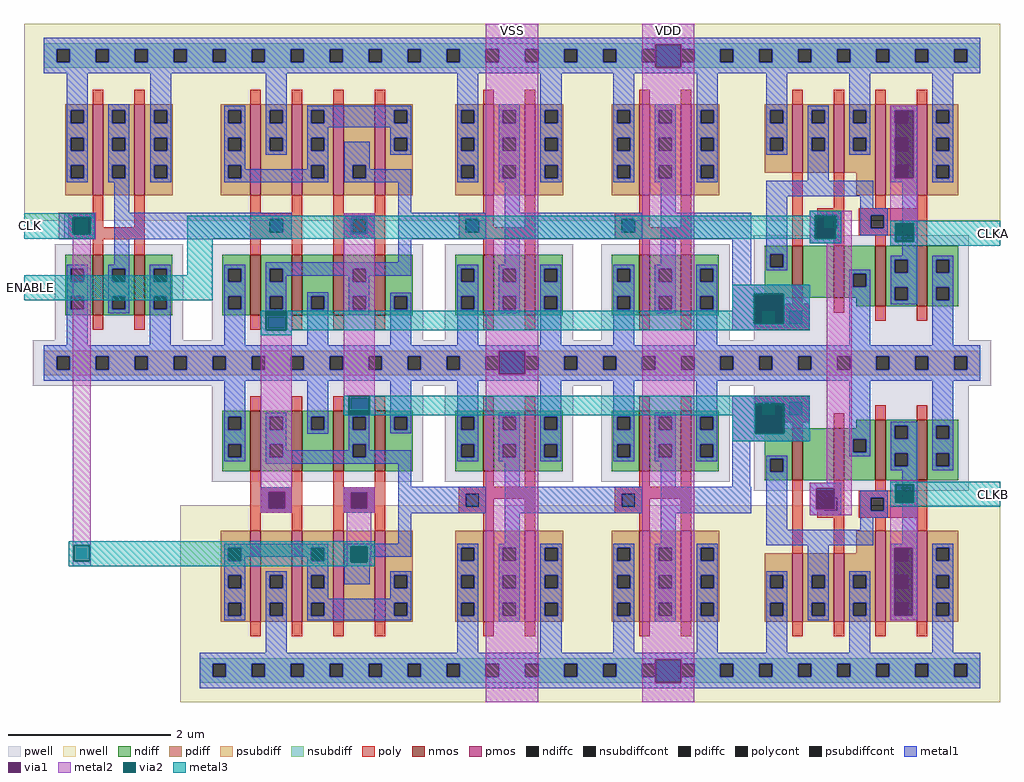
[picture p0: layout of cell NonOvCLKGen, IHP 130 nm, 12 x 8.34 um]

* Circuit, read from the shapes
.subckt NonOvCLKGen CLK ENABLE CLKA CLKB VSS VDD
XM1 sg13g2_nor2_2_0/A CLK VSS VSS sg13_lv_nmos w=0.74u l=0.13u m=2
XM2 sg13g2_inv_2_3/A sg13g2_and2_2_0/A VSS VSS sg13_lv_nmos w=0.74u l=0.13u m=2
XM3 sg13g2_inv_2_1/A sg13g2_nor2_2_0/A VSS VSS sg13_lv_nmos w=0.74u l=0.13u m=2
XM4 sg13g2_inv_2_3/A CLK VSS VSS sg13_lv_nmos w=0.74u l=0.13u m=2
XM5 sg13g2_inv_2_1/A sg13g2_and2_2_1/A VSS VSS sg13_lv_nmos w=0.74u l=0.13u m=2
XM6 sg13g2_inv_2_4/A sg13g2_inv_2_3/A VSS VSS sg13_lv_nmos w=0.74u l=0.13u m=2
XM7 sg13g2_inv_2_2/A sg13g2_inv_2_1/A VSS VSS sg13_lv_nmos w=0.74u l=0.13u m=2
XM8 sg13g2_and2_2_1/A sg13g2_inv_2_4/A VSS VSS sg13_lv_nmos w=0.74u l=0.13u m=2
XM9 sg13g2_and2_2_0/A sg13g2_inv_2_2/A VSS VSS sg13_lv_nmos w=0.74u l=0.13u m=2
XM10 n1 sg13g2_and2_2_1/A n2 VSS sg13_lv_nmos w=0.64u l=0.13u
XM11 n3 sg13g2_and2_2_0/A n4 VSS sg13_lv_nmos w=0.64u l=0.13u
XM12 VSS ENABLE n1 VSS sg13_lv_nmos w=0.64u l=0.13u
XM13 VSS ENABLE n3 VSS sg13_lv_nmos w=0.64u l=0.13u
XM14 CLKB n2 VSS VSS sg13_lv_nmos w=0.74u l=0.13u m=2
XM15 CLKA n4 VSS VSS sg13_lv_nmos w=0.74u l=0.13u m=2
XM16 sg13g2_nor2_2_0/A CLK VDD VDD sg13_lv_pmos w=1.12u l=0.13u m=2
XM17 VDD sg13g2_and2_2_0/A n5 VDD sg13_lv_pmos w=1.12u l=0.13u m=2
XM18 VDD sg13g2_nor2_2_0/A n6 VDD sg13_lv_pmos w=1.12u l=0.13u m=2
XM19 sg13g2_inv_2_3/A CLK n5 VDD sg13_lv_pmos w=1.12u l=0.13u m=2
XM20 sg13g2_inv_2_1/A sg13g2_and2_2_1/A n6 VDD sg13_lv_pmos w=1.12u l=0.13u m=2
XM21 sg13g2_inv_2_4/A sg13g2_inv_2_3/A VDD VDD sg13_lv_pmos w=1.12u l=0.13u m=2
XM22 sg13g2_inv_2_2/A sg13g2_inv_2_1/A VDD VDD sg13_lv_pmos w=1.12u l=0.13u m=2
XM23 sg13g2_and2_2_1/A sg13g2_inv_2_4/A VDD VDD sg13_lv_pmos w=1.12u l=0.13u m=2
XM24 sg13g2_and2_2_0/A sg13g2_inv_2_2/A VDD VDD sg13_lv_pmos w=1.12u l=0.13u m=2
XM25 n2 sg13g2_and2_2_1/A VDD VDD sg13_lv_pmos w=0.84u l=0.13u
XM26 n4 sg13g2_and2_2_0/A VDD VDD sg13_lv_pmos w=0.84u l=0.13u
XM27 VDD ENABLE n2 VDD sg13_lv_pmos w=0.84u l=0.13u
XM28 VDD ENABLE n4 VDD sg13_lv_pmos w=0.84u l=0.13u
XM29 CLKB n2 VDD VDD sg13_lv_pmos w=1.12u l=0.13u m=2
XM30 CLKA n4 VDD VDD sg13_lv_pmos w=1.12u l=0.13u m=2
.ends

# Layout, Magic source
magic
tech ihp-sg13g2
<< metal1 >>
rect 1052 2580 1198 2613
rect 1329 2580 1437 2613
rect 1532 2580 1629 2613
rect 1724 2580 1763 2613
rect 1740 2524 1763 2580
rect 1740 2513 1835 2524
rect 1740 2476 1766 2513
rect 1803 2476 1835 2513
rect 1740 2468 1835 2476
rect 1740 2378 1835 2388
rect 1740 2341 1768 2378
rect 1804 2341 1835 2378
rect 1740 2332 1835 2341
rect 1740 2276 1762 2332
rect 1329 2243 1437 2276
rect 1532 2243 1629 2276
rect 1717 2243 1763 2276
<< via1 >>
rect 1645 2791 1677 2820
rect 1940 2655 1963 2739
rect 929 2586 951 2607
rect 1271 2587 1291 2607
rect 1841 2581 1867 2609
rect 1766 2476 1803 2513
rect 1453 2414 1485 2443
rect 1768 2341 1804 2378
rect 1169 2249 1190 2270
rect 1271 2249 1291 2269
rect 1843 2248 1866 2274
rect 1939 2117 1962 2201
rect 1645 2035 1677 2064
<< metal2 >>
rect 912 2607 957 2613
rect 912 2586 929 2607
rect 951 2586 957 2607
rect 912 2580 957 2586
rect 1262 2607 1300 2612
rect 1262 2587 1271 2607
rect 1291 2587 1300 2607
rect 929 2204 951 2580
rect 1160 2468 1166 2492
rect 1192 2468 1198 2492
rect 1160 2270 1198 2468
rect 1262 2388 1300 2587
rect 1262 2364 1268 2388
rect 1294 2364 1300 2388
rect 1437 2443 1501 2845
rect 1437 2414 1453 2443
rect 1485 2414 1501 2443
rect 1160 2249 1169 2270
rect 1190 2249 1198 2270
rect 1160 2244 1198 2249
rect 1262 2269 1300 2275
rect 1262 2249 1271 2269
rect 1291 2249 1300 2269
rect 1262 2244 1300 2249
rect 929 2184 930 2204
rect 950 2184 951 2204
rect 929 2178 951 2184
rect 1266 2203 1296 2244
rect 1266 2183 1271 2203
rect 1291 2183 1296 2203
rect 1266 2178 1296 2183
rect 1437 2011 1501 2414
rect 1629 2820 1693 2845
rect 1629 2791 1645 2820
rect 1677 2791 1693 2820
rect 1629 2064 1693 2791
rect 1934 2739 1968 2744
rect 1934 2655 1940 2739
rect 1963 2655 1968 2739
rect 1835 2609 1887 2615
rect 1835 2581 1841 2609
rect 1867 2581 1887 2609
rect 1835 2575 1887 2581
rect 1740 2513 1835 2524
rect 1740 2476 1766 2513
rect 1803 2476 1835 2513
rect 1740 2468 1835 2476
rect 1740 2378 1835 2388
rect 1740 2341 1768 2378
rect 1804 2341 1835 2378
rect 1740 2332 1835 2341
rect 1856 2281 1887 2575
rect 1934 2600 1968 2655
rect 1934 2577 1940 2600
rect 1963 2577 1968 2600
rect 1934 2572 1968 2577
rect 1835 2274 1887 2281
rect 1835 2248 1843 2274
rect 1866 2248 1887 2274
rect 1835 2241 1887 2248
rect 1934 2279 1968 2284
rect 1934 2256 1940 2279
rect 1963 2256 1968 2279
rect 1934 2201 1968 2256
rect 1934 2117 1939 2201
rect 1962 2117 1968 2201
rect 1934 2112 1968 2117
rect 1629 2035 1645 2064
rect 1677 2035 1693 2064
rect 1629 2011 1693 2035
<< via2 >>
rect 929 2586 951 2607
rect 1166 2468 1192 2492
rect 1268 2364 1294 2388
rect 930 2184 950 2204
rect 1271 2183 1291 2203
rect 1841 2581 1867 2609
rect 1766 2476 1803 2513
rect 1768 2341 1804 2378
rect 1940 2577 1963 2600
rect 1940 2256 1963 2279
<< metal3 >>
rect 869 2607 956 2612
rect 1835 2609 1874 2615
rect 869 2586 929 2607
rect 951 2586 956 2607
rect 869 2581 956 2586
rect 1070 2581 1841 2609
rect 1867 2581 1874 2609
rect 1070 2536 1101 2581
rect 1835 2575 1874 2581
rect 1934 2600 2069 2603
rect 1934 2577 1940 2600
rect 1963 2577 2069 2600
rect 1934 2572 2069 2577
rect 869 2505 1101 2536
rect 1740 2513 1835 2524
rect 1740 2492 1766 2513
rect 1160 2468 1166 2492
rect 1192 2476 1766 2492
rect 1803 2476 1835 2513
rect 1192 2468 1835 2476
rect 1160 2462 1198 2468
rect 1262 2364 1268 2388
rect 1294 2378 1835 2388
rect 1294 2364 1768 2378
rect 1740 2341 1768 2364
rect 1804 2341 1835 2378
rect 1740 2332 1835 2341
rect 1934 2279 2069 2282
rect 1934 2256 1940 2279
rect 1963 2256 2069 2279
rect 1934 2251 2069 2256
rect 924 2204 1300 2209
rect 924 2184 930 2204
rect 950 2203 1300 2204
rect 950 2184 1271 2203
rect 924 2183 1271 2184
rect 1291 2183 1300 2203
rect 924 2178 1300 2183
use sg13g2_and2_2  sg13g2_and2_2_0 ~/ASHES-IHP130nm/ihp130_dig
transform 1 0 1757 0 1 2428
box -24 -28 312 417
use sg13g2_and2_2  sg13g2_and2_2_1
transform 1 0 1757 0 -1 2428
box -24 -28 312 417
use sg13g2_inv_2  sg13g2_inv_2_0 ~/ASHES-IHP130nm/ihp130_dig
transform 1 0 893 0 1 2428
box -24 -28 216 417
use sg13g2_inv_2  sg13g2_inv_2_1
transform 1 0 1373 0 1 2428
box -24 -28 216 417
use sg13g2_inv_2  sg13g2_inv_2_2
transform 1 0 1565 0 1 2428
box -24 -28 216 417
use sg13g2_inv_2  sg13g2_inv_2_3
transform 1 0 1373 0 -1 2428
box -24 -28 216 417
use sg13g2_inv_2  sg13g2_inv_2_4
transform 1 0 1565 0 -1 2428
box -24 -28 216 417
use sg13g2_nor2_2  sg13g2_nor2_2_0 ~/ASHES-IHP130nm/ihp130_dig
transform 1 0 1085 0 1 2428
box -24 -28 312 417
use sg13g2_nor2_2  sg13g2_nor2_2_1
transform 1 0 1085 0 -1 2428
box -24 -28 312 417
<< labels >>
flabel metal3 869 2581 885 2612 1 FreeSans 64 90 0 0 CLK
port 1 n
flabel metal3 869 2505 885 2536 1 FreeSans 64 90 0 0 ENABLE
port 2 n
flabel metal3 2054 2572 2069 2603 1 FreeSans 64 90 0 0 CLKA
port 3 n
flabel metal3 2052 2251 2069 2282 1 FreeSans 64 90 0 0 CLKB
port 4 n
flabel metal2 1437 2828 1501 2845 1 FreeSans 80 0 0 0 VSS
port 5 n
flabel metal2 1629 2828 1693 2845 1 FreeSans 80 0 0 0 VDD
port 6 n
<< end >>

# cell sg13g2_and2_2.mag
magic
tech ihp-sg13g2
magscale 1 2
<< nwell >>
rect -48 350 624 834
<< pwell >>
rect 19 56 547 314
rect -26 -56 602 56
<< nmos >>
rect 113 160 139 288
rect 215 160 241 288
rect 317 140 343 288
rect 419 140 445 288
<< pmos >>
rect 113 468 139 636
rect 215 468 241 636
rect 317 412 343 636
rect 419 412 445 636
<< ndiff >>
rect 45 268 113 288
rect 45 236 59 268
rect 91 236 113 268
rect 45 160 113 236
rect 139 160 215 288
rect 241 219 317 288
rect 241 187 263 219
rect 295 187 317 219
rect 241 160 317 187
rect 271 140 317 160
rect 343 254 419 288
rect 343 222 365 254
rect 397 222 419 254
rect 343 186 419 222
rect 343 154 365 186
rect 397 154 419 186
rect 343 140 419 154
rect 445 254 521 288
rect 445 222 467 254
rect 499 222 521 254
rect 445 186 521 222
rect 445 154 467 186
rect 499 154 521 186
rect 445 140 521 154
<< pdiff >>
rect 45 622 113 636
rect 45 590 59 622
rect 91 590 113 622
rect 45 554 113 590
rect 45 522 59 554
rect 91 522 113 554
rect 45 468 113 522
rect 139 622 215 636
rect 139 590 161 622
rect 193 590 215 622
rect 139 554 215 590
rect 139 522 161 554
rect 193 522 215 554
rect 139 468 215 522
rect 241 622 317 636
rect 241 590 263 622
rect 295 590 317 622
rect 241 554 317 590
rect 241 522 263 554
rect 295 522 317 554
rect 241 468 317 522
rect 271 412 317 468
rect 343 622 419 636
rect 343 590 365 622
rect 397 590 419 622
rect 343 554 419 590
rect 343 522 365 554
rect 397 522 419 554
rect 343 486 419 522
rect 343 454 365 486
rect 397 454 419 486
rect 343 412 419 454
rect 445 622 521 636
rect 445 590 467 622
rect 499 590 521 622
rect 445 554 521 590
rect 445 522 467 554
rect 499 522 521 554
rect 445 486 521 522
rect 445 454 467 486
rect 499 454 521 486
rect 445 412 521 454
<< ndiffc >>
rect 59 236 91 268
rect 263 187 295 219
rect 365 222 397 254
rect 365 154 397 186
rect 467 222 499 254
rect 467 154 499 186
<< pdiffc >>
rect 59 590 91 622
rect 59 522 91 554
rect 161 590 193 622
rect 161 522 193 554
rect 263 590 295 622
rect 263 522 295 554
rect 365 590 397 622
rect 365 522 397 554
rect 365 454 397 486
rect 467 590 499 622
rect 467 522 499 554
rect 467 454 499 486
<< psubdiff >>
rect 0 16 576 30
rect 0 -16 32 16
rect 64 -16 128 16
rect 160 -16 224 16
rect 256 -16 320 16
rect 352 -16 416 16
rect 448 -16 512 16
rect 544 -16 576 16
rect 0 -30 576 -16
<< nsubdiff >>
rect 0 772 576 786
rect 0 740 32 772
rect 64 740 128 772
rect 160 740 224 772
rect 256 740 320 772
rect 352 740 416 772
rect 448 740 512 772
rect 544 740 576 772
rect 0 726 576 740
<< psubdiffcont >>
rect 32 -16 64 16
rect 128 -16 160 16
rect 224 -16 256 16
rect 320 -16 352 16
rect 416 -16 448 16
rect 512 -16 544 16
<< nsubdiffcont >>
rect 32 740 64 772
rect 128 740 160 772
rect 224 740 256 772
rect 320 740 352 772
rect 416 740 448 772
rect 512 740 544 772
<< poly >>
rect 113 636 139 672
rect 215 636 241 672
rect 317 636 343 672
rect 419 636 445 672
rect 113 288 139 468
rect 215 380 241 468
rect 317 380 343 412
rect 419 380 445 412
rect 175 363 241 380
rect 175 331 192 363
rect 224 331 241 363
rect 175 314 241 331
rect 277 363 445 380
rect 277 331 306 363
rect 338 331 445 363
rect 277 314 445 331
rect 215 288 241 314
rect 317 288 343 314
rect 419 288 445 314
rect 113 146 139 160
rect 21 128 155 146
rect 21 96 38 128
rect 70 96 106 128
rect 138 96 155 128
rect 215 124 241 160
rect 317 104 343 140
rect 419 104 445 140
rect 21 82 155 96
<< polycont >>
rect 192 331 224 363
rect 306 331 338 363
rect 38 96 70 128
rect 106 96 138 128
<< metal1 >>
rect 0 772 576 800
rect 0 740 32 772
rect 64 740 128 772
rect 160 740 224 772
rect 256 740 320 772
rect 352 740 416 772
rect 448 740 512 772
rect 544 740 576 772
rect 0 712 576 740
rect 49 622 101 712
rect 49 590 59 622
rect 91 590 101 622
rect 49 554 101 590
rect 49 522 59 554
rect 91 522 101 554
rect 49 512 101 522
rect 151 622 203 632
rect 151 590 161 622
rect 193 590 203 622
rect 151 554 203 590
rect 151 522 161 554
rect 193 522 203 554
rect 151 448 203 522
rect 253 622 305 712
rect 253 590 263 622
rect 295 590 305 622
rect 253 554 305 590
rect 253 522 263 554
rect 295 522 305 554
rect 253 512 305 522
rect 355 622 421 632
rect 355 590 365 622
rect 397 590 421 622
rect 355 554 421 590
rect 355 522 365 554
rect 397 522 421 554
rect 355 486 421 522
rect 355 454 365 486
rect 397 454 421 486
rect 49 410 312 448
rect 355 444 421 454
rect 457 622 509 712
rect 457 590 467 622
rect 499 590 509 622
rect 457 554 509 590
rect 457 522 467 554
rect 499 522 509 554
rect 457 486 509 522
rect 457 454 467 486
rect 499 454 509 486
rect 457 444 509 454
rect 49 268 101 410
rect 280 380 312 410
rect 156 363 234 374
rect 156 331 192 363
rect 224 331 234 363
rect 156 294 234 331
rect 280 363 348 380
rect 280 331 306 363
rect 338 331 348 363
rect 280 314 348 331
rect 49 236 59 268
rect 91 236 101 268
rect 384 264 421 444
rect 49 228 101 236
rect 355 254 421 264
rect 253 219 305 229
rect 21 128 156 192
rect 21 96 38 128
rect 70 96 106 128
rect 138 96 156 128
rect 21 81 156 96
rect 253 187 263 219
rect 295 187 305 219
rect 253 44 305 187
rect 355 222 365 254
rect 397 222 421 254
rect 355 186 421 222
rect 355 154 365 186
rect 397 154 421 186
rect 355 144 421 154
rect 457 254 509 264
rect 457 222 467 254
rect 499 222 509 254
rect 457 186 509 222
rect 457 154 467 186
rect 499 154 509 186
rect 457 44 509 154
rect 0 16 576 44
rect 0 -16 32 16
rect 64 -16 128 16
rect 160 -16 224 16
rect 256 -16 320 16
rect 352 -16 416 16
rect 448 -16 512 16
rect 544 -16 576 16
rect 0 -44 576 -16
<< labels >>
flabel metal1 s 355 444 421 632 0 FreeSans 400 0 0 0 X
port 2 nsew
flabel metal1 s 0 -44 576 44 0 FreeSans 400 0 0 0 VSS
port 3 nsew
flabel metal1 s 0 712 576 800 0 FreeSans 400 0 0 0 VDD
port 4 nsew
flabel metal1 s 156 294 234 374 0 FreeSans 400 0 0 0 B
port 5 nsew
flabel metal1 s 21 81 156 192 0 FreeSans 400 0 0 0 A
port 6 nsew
<< properties >>
string FIXED_BBOX 0 0 576 756
<< end >>

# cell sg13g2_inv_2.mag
magic
tech ihp-sg13g2
magscale 1 2
<< nwell >>
rect -48 350 432 834
<< pwell >>
rect 27 56 343 292
rect -26 -56 410 56
<< nmos >>
rect 121 118 147 266
rect 223 118 249 266
<< pmos >>
rect 121 412 147 636
rect 223 412 249 636
<< ndiff >>
rect 53 232 121 266
rect 53 200 67 232
rect 99 200 121 232
rect 53 164 121 200
rect 53 132 67 164
rect 99 132 121 164
rect 53 118 121 132
rect 147 232 223 266
rect 147 200 169 232
rect 201 200 223 232
rect 147 164 223 200
rect 147 132 169 164
rect 201 132 223 164
rect 147 118 223 132
rect 249 232 317 266
rect 249 200 271 232
rect 303 200 317 232
rect 249 164 317 200
rect 249 132 271 164
rect 303 132 317 164
rect 249 118 317 132
<< pdiff >>
rect 53 622 121 636
rect 53 590 67 622
rect 99 590 121 622
rect 53 554 121 590
rect 53 522 67 554
rect 99 522 121 554
rect 53 486 121 522
rect 53 454 67 486
rect 99 454 121 486
rect 53 412 121 454
rect 147 622 223 636
rect 147 590 169 622
rect 201 590 223 622
rect 147 554 223 590
rect 147 522 169 554
rect 201 522 223 554
rect 147 486 223 522
rect 147 454 169 486
rect 201 454 223 486
rect 147 412 223 454
rect 249 622 318 636
rect 249 590 272 622
rect 304 590 318 622
rect 249 554 318 590
rect 249 522 272 554
rect 304 522 318 554
rect 249 486 318 522
rect 249 454 272 486
rect 304 454 318 486
rect 249 412 318 454
<< ndiffc >>
rect 67 200 99 232
rect 67 132 99 164
rect 169 200 201 232
rect 169 132 201 164
rect 271 200 303 232
rect 271 132 303 164
<< pdiffc >>
rect 67 590 99 622
rect 67 522 99 554
rect 67 454 99 486
rect 169 590 201 622
rect 169 522 201 554
rect 169 454 201 486
rect 272 590 304 622
rect 272 522 304 554
rect 272 454 304 486
<< psubdiff >>
rect 0 16 384 30
rect 0 -16 32 16
rect 64 -16 128 16
rect 160 -16 224 16
rect 256 -16 320 16
rect 352 -16 384 16
rect 0 -30 384 -16
<< nsubdiff >>
rect 0 772 384 786
rect 0 740 32 772
rect 64 740 128 772
rect 160 740 224 772
rect 256 740 320 772
rect 352 740 384 772
rect 0 726 384 740
<< psubdiffcont >>
rect 32 -16 64 16
rect 128 -16 160 16
rect 224 -16 256 16
rect 320 -16 352 16
<< nsubdiffcont >>
rect 32 740 64 772
rect 128 740 160 772
rect 224 740 256 772
rect 320 740 352 772
<< poly >>
rect 121 636 147 672
rect 223 636 249 672
rect 121 370 147 412
rect 61 353 147 370
rect 61 321 78 353
rect 110 334 147 353
rect 223 334 249 412
rect 110 321 249 334
rect 61 304 249 321
rect 121 266 147 304
rect 223 266 249 304
rect 121 82 147 118
rect 223 82 249 118
<< polycont >>
rect 78 321 110 353
<< metal1 >>
rect 0 772 384 800
rect 0 740 32 772
rect 64 740 128 772
rect 160 740 224 772
rect 256 740 320 772
rect 352 740 384 772
rect 0 712 384 740
rect 57 622 109 712
rect 57 590 67 622
rect 99 590 109 622
rect 57 554 109 590
rect 57 522 67 554
rect 99 522 109 554
rect 57 486 109 522
rect 57 454 67 486
rect 99 454 109 486
rect 57 444 109 454
rect 159 622 211 636
rect 159 590 169 622
rect 201 590 211 622
rect 159 554 211 590
rect 159 522 169 554
rect 201 522 211 554
rect 159 486 211 522
rect 159 454 169 486
rect 201 454 211 486
rect 159 444 211 454
rect 262 622 314 712
rect 262 590 272 622
rect 304 590 314 622
rect 262 554 314 590
rect 262 522 272 554
rect 304 522 314 554
rect 262 486 314 522
rect 262 454 272 486
rect 304 454 314 486
rect 262 444 314 454
rect 174 370 211 444
rect 51 353 127 370
rect 51 321 78 353
rect 110 321 127 353
rect 51 304 127 321
rect 174 304 318 370
rect 174 242 211 304
rect 57 232 109 242
rect 57 200 67 232
rect 99 200 109 232
rect 57 164 109 200
rect 57 132 67 164
rect 99 132 109 164
rect 57 44 109 132
rect 159 232 211 242
rect 159 200 169 232
rect 201 200 211 232
rect 159 164 211 200
rect 159 132 169 164
rect 201 132 211 164
rect 159 122 211 132
rect 261 232 313 242
rect 261 200 271 232
rect 303 200 313 232
rect 261 164 313 200
rect 261 132 271 164
rect 303 132 313 164
rect 261 44 313 132
rect 0 16 384 44
rect 0 -16 32 16
rect 64 -16 128 16
rect 160 -16 224 16
rect 256 -16 320 16
rect 352 -16 384 16
rect 0 -44 384 -16
<< labels >>
flabel metal1 s 0 -44 384 44 0 FreeSans 400 0 0 0 VSS
port 2 nsew
flabel metal1 s 0 712 384 800 0 FreeSans 400 0 0 0 VDD
port 3 nsew
flabel metal1 s 174 304 318 370 0 FreeSans 400 0 0 0 Y
port 4 nsew
flabel metal1 s 51 304 127 370 0 FreeSans 400 0 0 0 A
port 5 nsew
<< properties >>
string FIXED_BBOX 0 0 384 756
<< end >>

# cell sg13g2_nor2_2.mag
magic
tech ihp-sg13g2
magscale 1 2
<< nwell >>
rect -48 350 624 834
<< pwell >>
rect 30 56 550 292
rect -26 -56 602 56
<< nmos >>
rect 124 118 150 266
rect 226 118 252 266
rect 328 118 354 266
rect 430 118 456 266
<< pmos >>
rect 124 412 150 636
rect 226 412 252 636
rect 328 412 354 636
rect 430 412 456 636
<< ndiff >>
rect 56 232 124 266
rect 56 200 70 232
rect 102 200 124 232
rect 56 164 124 200
rect 56 132 70 164
rect 102 132 124 164
rect 56 118 124 132
rect 150 232 226 266
rect 150 200 172 232
rect 204 200 226 232
rect 150 164 226 200
rect 150 132 172 164
rect 204 132 226 164
rect 150 118 226 132
rect 252 164 328 266
rect 252 132 274 164
rect 306 132 328 164
rect 252 118 328 132
rect 354 232 430 266
rect 354 200 376 232
rect 408 200 430 232
rect 354 164 430 200
rect 354 132 376 164
rect 408 132 430 164
rect 354 118 430 132
rect 456 164 524 266
rect 456 132 478 164
rect 510 132 524 164
rect 456 118 524 132
<< pdiff >>
rect 52 622 124 636
rect 52 590 70 622
rect 102 590 124 622
rect 52 554 124 590
rect 52 522 70 554
rect 102 522 124 554
rect 52 486 124 522
rect 52 454 70 486
rect 102 454 124 486
rect 52 412 124 454
rect 150 622 226 636
rect 150 590 172 622
rect 204 590 226 622
rect 150 554 226 590
rect 150 522 172 554
rect 204 522 226 554
rect 150 412 226 522
rect 252 622 328 636
rect 252 590 274 622
rect 306 590 328 622
rect 252 554 328 590
rect 252 522 274 554
rect 306 522 328 554
rect 252 486 328 522
rect 252 454 274 486
rect 306 454 328 486
rect 252 412 328 454
rect 354 486 430 636
rect 354 454 376 486
rect 408 454 430 486
rect 354 412 430 454
rect 456 622 524 636
rect 456 590 478 622
rect 510 590 524 622
rect 456 554 524 590
rect 456 522 478 554
rect 510 522 524 554
rect 456 412 524 522
<< ndiffc >>
rect 70 200 102 232
rect 70 132 102 164
rect 172 200 204 232
rect 172 132 204 164
rect 274 132 306 164
rect 376 200 408 232
rect 376 132 408 164
rect 478 132 510 164
<< pdiffc >>
rect 70 590 102 622
rect 70 522 102 554
rect 70 454 102 486
rect 172 590 204 622
rect 172 522 204 554
rect 274 590 306 622
rect 274 522 306 554
rect 274 454 306 486
rect 376 454 408 486
rect 478 590 510 622
rect 478 522 510 554
<< psubdiff >>
rect 0 16 576 30
rect 0 -16 32 16
rect 64 -16 128 16
rect 160 -16 224 16
rect 256 -16 320 16
rect 352 -16 416 16
rect 448 -16 512 16
rect 544 -16 576 16
rect 0 -30 576 -16
<< nsubdiff >>
rect 0 772 576 786
rect 0 740 32 772
rect 64 740 128 772
rect 160 740 224 772
rect 256 740 320 772
rect 352 740 416 772
rect 448 740 512 772
rect 544 740 576 772
rect 0 726 576 740
<< psubdiffcont >>
rect 32 -16 64 16
rect 128 -16 160 16
rect 224 -16 256 16
rect 320 -16 352 16
rect 416 -16 448 16
rect 512 -16 544 16
<< nsubdiffcont >>
rect 32 740 64 772
rect 128 740 160 772
rect 224 740 256 772
rect 320 740 352 772
rect 416 740 448 772
rect 512 740 544 772
<< poly >>
rect 124 636 150 672
rect 226 636 252 672
rect 328 636 354 672
rect 430 636 456 672
rect 124 368 150 412
rect 226 368 252 412
rect 124 353 252 368
rect 124 321 172 353
rect 204 321 252 353
rect 124 306 252 321
rect 124 266 150 306
rect 226 266 252 306
rect 328 368 354 412
rect 430 368 456 412
rect 328 353 456 368
rect 328 321 376 353
rect 408 321 456 353
rect 328 306 456 321
rect 328 266 354 306
rect 430 266 456 306
rect 124 82 150 118
rect 226 82 252 118
rect 328 82 354 118
rect 430 82 456 118
<< polycont >>
rect 172 321 204 353
rect 376 321 408 353
<< metal1 >>
rect 0 772 576 800
rect 0 740 32 772
rect 64 740 128 772
rect 160 740 224 772
rect 256 740 320 772
rect 352 740 416 772
rect 448 740 512 772
rect 544 740 576 772
rect 0 712 576 740
rect 60 622 112 632
rect 60 590 70 622
rect 102 590 112 622
rect 60 554 112 590
rect 60 522 70 554
rect 102 522 112 554
rect 60 486 112 522
rect 162 622 214 712
rect 162 590 172 622
rect 204 590 214 622
rect 162 554 214 590
rect 162 522 172 554
rect 204 522 214 554
rect 162 512 214 522
rect 264 622 520 632
rect 264 590 274 622
rect 306 590 478 622
rect 510 590 520 622
rect 264 580 520 590
rect 264 554 316 580
rect 264 522 274 554
rect 306 522 316 554
rect 468 554 520 580
rect 60 454 70 486
rect 102 476 112 486
rect 264 486 316 522
rect 264 476 274 486
rect 102 454 274 476
rect 306 454 316 486
rect 60 444 316 454
rect 356 486 418 544
rect 468 522 478 554
rect 510 522 520 554
rect 468 512 520 522
rect 356 454 376 486
rect 408 476 418 486
rect 408 454 520 476
rect 356 444 520 454
rect 150 353 226 368
rect 150 321 172 353
rect 204 321 226 353
rect 150 306 226 321
rect 354 353 430 368
rect 354 321 376 353
rect 408 321 430 353
rect 354 306 430 321
rect 488 248 520 444
rect 60 232 112 242
rect 60 200 70 232
rect 102 200 112 232
rect 60 164 112 200
rect 60 132 70 164
rect 102 132 112 164
rect 60 44 112 132
rect 162 232 520 248
rect 162 200 172 232
rect 204 215 376 232
rect 204 200 213 215
rect 162 164 213 200
rect 366 200 376 215
rect 408 215 520 232
rect 408 200 417 215
rect 162 132 172 164
rect 204 132 213 164
rect 162 122 213 132
rect 264 164 316 174
rect 264 132 274 164
rect 306 132 316 164
rect 264 44 316 132
rect 366 164 417 200
rect 366 132 376 164
rect 408 132 417 164
rect 366 118 417 132
rect 468 164 520 173
rect 468 132 478 164
rect 510 132 520 164
rect 468 44 520 132
rect 0 16 576 44
rect 0 -16 32 16
rect 64 -16 128 16
rect 160 -16 224 16
rect 256 -16 320 16
rect 352 -16 416 16
rect 448 -16 512 16
rect 544 -16 576 16
rect 0 -44 576 -16
<< labels >>
flabel metal1 s 150 306 226 368 0 FreeSans 400 0 0 0 A
port 2 nsew
flabel metal1 s 0 712 576 800 0 FreeSans 400 0 0 0 VDD
port 3 nsew
flabel metal1 s 356 444 418 544 0 FreeSans 400 0 0 0 Y
port 4 nsew
flabel metal1 s 0 -44 576 44 0 FreeSans 400 0 0 0 VSS
port 5 nsew
flabel metal1 s 354 306 430 368 0 FreeSans 400 0 0 0 B
port 6 nsew
<< properties >>
string FIXED_BBOX 0 0 576 756
<< end >>
